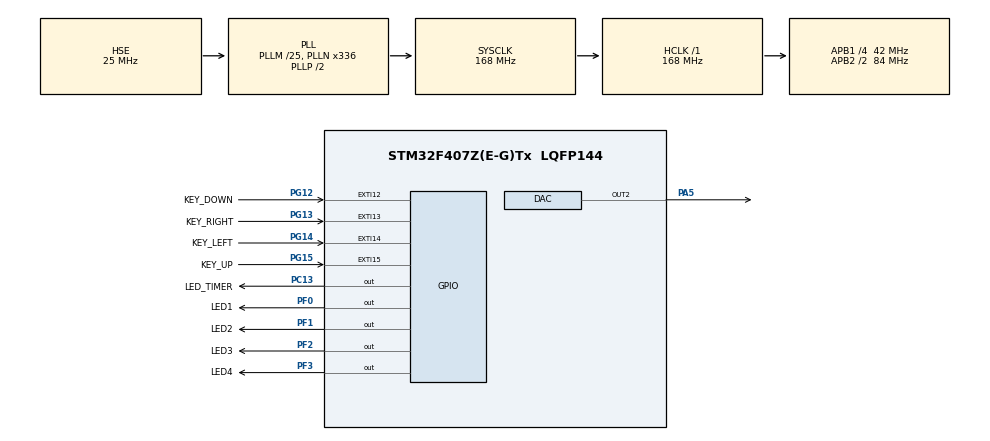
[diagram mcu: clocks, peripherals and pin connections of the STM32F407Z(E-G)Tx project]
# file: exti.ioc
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DAC.DAC_Trigger2=DAC_TRIGGER_T2_TRGO
DAC.TriangleAmplitude2=DAC_TRIANGLEAMPLITUDE_4095
DAC.WaveGeneration2=TriangleWaveGeneration
Mcu.Family=STM32F4
Mcu.Name=STM32F407Z(E-G)Tx
Mcu.Package=LQFP144
NVIC.PriorityGroup=NVIC_PRIORITYGROUP_4
NVIC.TIM2_IRQn=true\:1\:0\:true\:false\:true\:true\:true\:true
PA13.Mode=Serial_Wire
PA13.Signal=SYS_JTMS-SWDIO
PA14.Mode=Serial_Wire
PA14.Signal=SYS_JTCK-SWCLK
PA5.Signal=COMP_DAC2_group
PC13-ANTI_TAMP.GPIO_Label=LED_TIMER
PC13-ANTI_TAMP.Signal=GPIO_Output
PF0.GPIO_Label=LED1
PF0.PinState=GPIO_PIN_SET
PF0.Signal=GPIO_Output
PF1.GPIO_Label=LED2
PF1.PinState=GPIO_PIN_SET
PF1.Signal=GPIO_Output
PF2.GPIO_Label=LED3
PF2.PinState=GPIO_PIN_SET
PF2.Signal=GPIO_Output
PF3.GPIO_Label=LED4
PF3.PinState=GPIO_PIN_SET
PF3.Signal=GPIO_Output
PG12.GPIO_Label=KEY_DOWN
PG12.Signal=GPXTI12
PG13.GPIO_Label=KEY_RIGHT
PG13.Signal=GPXTI13
PG14.GPIO_Label=KEY_LEFT
PG14.Signal=GPXTI14
PG15.GPIO_Label=KEY_UP
PG15.GPIO_ModeDefaultEXTI=GPIO_MODE_IT_FALLING
PG15.Signal=GPXTI15
PH0-OSC_IN.Mode=HSE-External-Oscillator
PH0-OSC_IN.Signal=RCC_OSC_IN
PH1-OSC_OUT.Mode=HSE-External-Oscillator
PH1-OSC_OUT.Signal=RCC_OSC_OUT
ProjectManager.HeapSize=0x200
ProjectManager.StackSize=0x400
ProjectManager.TargetToolchain=STM32CubeIDE
RCC.48MHZClocksFreq_Value=84000000
RCC.AHBFreq_Value=168000000
RCC.APB1CLKDivider=RCC_HCLK_DIV4
RCC.APB1Freq_Value=42000000
RCC.APB1TimFreq_Value=84000000
RCC.APB2CLKDivider=RCC_HCLK_DIV2
RCC.APB2Freq_Value=84000000
RCC.APB2TimFreq_Value=168000000
RCC.CortexFreq_Value=168000000
RCC.HCLKFreq_Value=168000000
RCC.HSE_VALUE=25000000
RCC.HSI_VALUE=16000000
RCC.LSE_VALUE=32768
RCC.PLLM=25
RCC.PLLN=336
RCC.PLLSourceVirtual=RCC_PLLSOURCE_HSE
RCC.SYSCLKFreq_VALUE=168000000
RCC.SYSCLKSource=RCC_SYSCLKSOURCE_PLLCLK
RCC.VCOOutputFreq_Value=336000000
SH.COMP_DAC2_group.0=DAC_OUT2,DAC_OUT2
TIM2.AutoReloadPreload=TIM_AUTORELOAD_PRELOAD_DISABLE
TIM2.Period=9
TIM2.Prescaler=4
TIM2.TIM_MasterOutputTrigger=TIM_TRGO_UPDATE
VP_TIM2_VS_ClockSourceINT.Mode=Internal
board=custom

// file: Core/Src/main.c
/* USER CODE BEGIN Header */
/**
  ******************************************************************************
  * @file           : main.c
  * @brief          : Main program body
  ******************************************************************************
  * @attention
  *
  * Copyright (c) 2024 STMicroelectronics.
  * All rights reserved.
  *
  * This software is licensed under terms that can be found in the LICENSE file
  * in the root directory of this software component.
  * If no LICENSE file comes with this software, it is provided AS-IS.
  *
  ******************************************************************************
  */
/* USER CODE END Header */
#include "main.h"
#include "dac.h"
#include "tim.h"
#include "gpio.h"

void SystemClock_Config(void);

int main(void)
{

  /* MCU Configuration--------------------------------------------------------*/

  /* Reset of all peripherals, Initializes the Flash interface and the Systick. */
  HAL_Init();

  /* Configure the system clock */
  SystemClock_Config();

  /* Initialize all configured peripherals */
  MX_GPIO_Init();
  MX_TIM2_Init();
  MX_DAC_Init();
  /* USER CODE BEGIN 2 */
  HAL_TIM_Base_Start_IT(&htim2);
  HAL_DAC_Start(&hdac, DAC_CHANNEL_2);
  /* USER CODE END 2 */

  /* Infinite loop */
  while (1)
  {

  }
}

void SystemClock_Config(void)
{
  RCC_OscInitTypeDef RCC_OscInitStruct = {0};
  RCC_ClkInitTypeDef RCC_ClkInitStruct = {0};

  /** Configure the main internal regulator output voltage
  */
  __HAL_RCC_PWR_CLK_ENABLE();
  __HAL_PWR_VOLTAGESCALING_CONFIG(PWR_REGULATOR_VOLTAGE_SCALE1);

  /** Initializes the RCC Oscillators according to the specified parameters
  * in the RCC_OscInitTypeDef structure.
  */
  RCC_OscInitStruct.OscillatorType = RCC_OSCILLATORTYPE_HSE;
  RCC_OscInitStruct.HSEState = RCC_HSE_ON;
  RCC_OscInitStruct.PLL.PLLState = RCC_PLL_ON;
  RCC_OscInitStruct.PLL.PLLSource = RCC_PLLSOURCE_HSE;
  RCC_OscInitStruct.PLL.PLLM = 25;
  RCC_OscInitStruct.PLL.PLLN = 336;
  RCC_OscInitStruct.PLL.PLLP = RCC_PLLP_DIV2;
  RCC_OscInitStruct.PLL.PLLQ = 4;
  if (HAL_RCC_OscConfig(&RCC_OscInitStruct) != HAL_OK)
  {
    Error_Handler();
  }

  /** Initializes the CPU, AHB and APB buses clocks
  */
  RCC_ClkInitStruct.ClockType = RCC_CLOCKTYPE_HCLK|RCC_CLOCKTYPE_SYSCLK
                              |RCC_CLOCKTYPE_PCLK1|RCC_CLOCKTYPE_PCLK2;
  RCC_ClkInitStruct.SYSCLKSource = RCC_SYSCLKSOURCE_PLLCLK;
  RCC_ClkInitStruct.AHBCLKDivider = RCC_SYSCLK_DIV1;
  RCC_ClkInitStruct.APB1CLKDivider = RCC_HCLK_DIV4;
  RCC_ClkInitStruct.APB2CLKDivider = RCC_HCLK_DIV2;

  if (HAL_RCC_ClockConfig(&RCC_ClkInitStruct, FLASH_LATENCY_5) != HAL_OK)
  {
    Error_Handler();
  }
}

/* USER CODE BEGIN 4 */
void HAL_GPIO_EXTI_Callback(uint16_t GPIO_Pin)
{
  if(GPIO_Pin == KEY_UP_Pin)
  {
    if(HAL_GPIO_ReadPin(KEY_UP_GPIO_Port, KEY_UP_Pin) == GPIO_PIN_RESET)
    {
      HAL_GPIO_TogglePin(LED1_GPIO_Port, LED1_Pin);
    }
  }
  else if (GPIO_Pin == KEY_DOWN_Pin)
  {
    if(HAL_GPIO_ReadPin(KEY_DOWN_GPIO_Port, KEY_DOWN_Pin) == GPIO_PIN_RESET)
    {
      HAL_GPIO_TogglePin(LED2_GPIO_Port, LED2_Pin);
    }
  }
  else if (GPIO_Pin == KEY_LEFT_Pin)
  {
    if(HAL_GPIO_ReadPin(KEY_LEFT_GPIO_Port, KEY_LEFT_Pin) == GPIO_PIN_RESET)
    {
      HAL_GPIO_TogglePin(LED3_GPIO_Port, LED3_Pin);
    }
  }
  else if (GPIO_Pin == KEY_RIGHT_Pin)
  {
    if(HAL_GPIO_ReadPin(KEY_RIGHT_GPIO_Port, KEY_RIGHT_Pin) == GPIO_PIN_RESET)
    {
      HAL_GPIO_TogglePin(LED4_GPIO_Port, LED4_Pin);
    }
  }
}

/* USER CODE END 4 */

void Error_Handler(void)
{
  __disable_irq();
  while (1)
  {
  }
}
